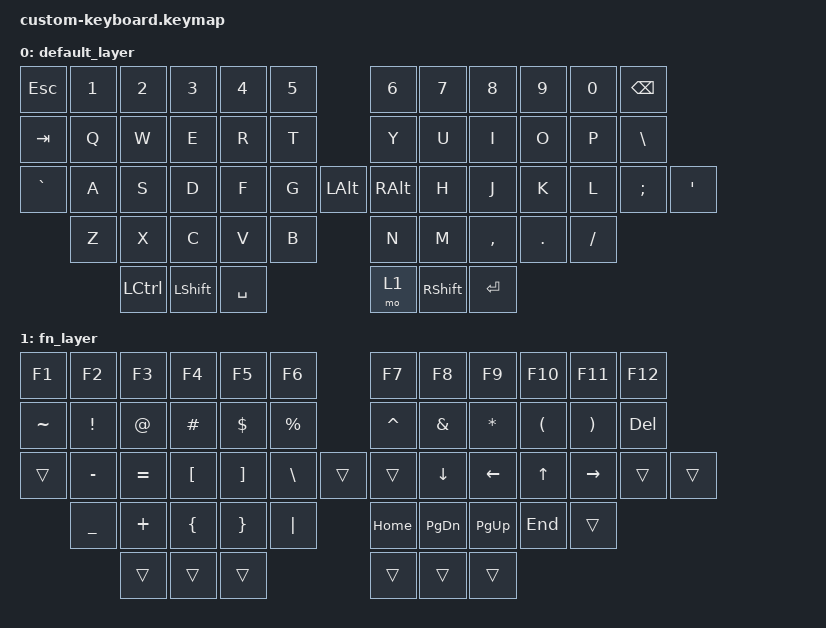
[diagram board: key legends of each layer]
#include <behaviors.dtsi>
#include <dt-bindings/zmk/keys.h>

/ {
    keymap {
        compatible = "zmk,keymap";

        default_layer {
            bindings = <
                &kp ESC   &kp N1    &kp N2    &kp N3    &kp N4    &kp N5              &kp N6    &kp N7    &kp N8    &kp N9    &kp N0    &kp BSPC
                &kp TAB   &kp Q     &kp W     &kp E     &kp R     &kp T               &kp Y     &kp U     &kp I     &kp O     &kp P     &kp BSLH
                &kp GRAVE &kp A     &kp S     &kp D     &kp F     &kp G   &kp LALT    &kp RALT  &kp H     &kp J     &kp K     &kp L     &kp SEMI  &kp SQT
                          &kp Z     &kp X     &kp C     &kp V     &kp B               &kp N     &kp M     &kp COMMA &kp DOT   &kp FSLH
                                    &kp LCTRL &kp LSHFT &kp SPACE                     &mo 1     &kp RSHFT &kp RET
            >;
        };

        fn_layer {
            bindings = <
                &kp F1    &kp F2    &kp F3    &kp F4    &kp F5    &kp F6              &kp F7    &kp F8    &kp F9    &kp F10   &kp F11   &kp F12
                &kp TILDE &kp EXCL  &kp AT    &kp HASH  &kp DLLR  &kp PRCNT           &kp CARET &kp AMPS  &kp STAR  &kp LPAR  &kp RPAR  &kp DEL
                &trans    &kp MINUS &kp EQUAL &kp LBKT  &kp RBKT  &kp BSLH  &trans    &trans    &kp DOWN  &kp LEFT  &kp UP    &kp RIGHT &trans    &trans
                          &kp UNDER &kp PLUS  &kp LBRC  &kp RBRC  &kp PIPE            &kp HOME  &kp PG_DN &kp PG_UP &kp END   &trans
                                    &trans    &trans    &trans                          &trans    &trans    &trans
            >;
        };
    };
};
